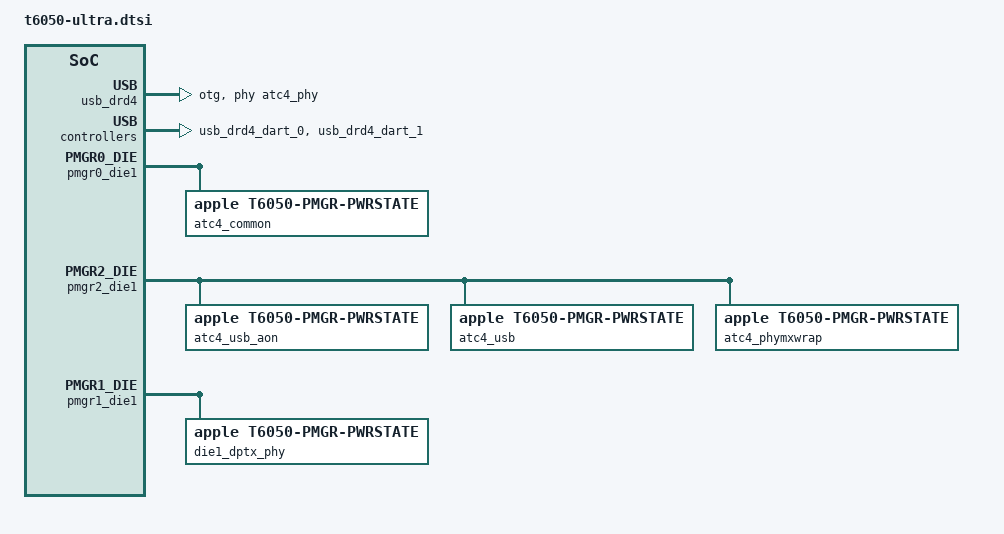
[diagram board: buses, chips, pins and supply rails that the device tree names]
// SPDX-License-Identifier: GPL-2.0+ OR MIT
/*
 * Apple T6050 "M5 Ultra" SoC: two dies
 *
 * Die 0 and die 1 each get the per-die template (t6050-dieX.dtsi); the
 * blocks used from die 0 only are in t6050-die0.dtsi. The video decoders,
 * the memory cache controllers and the display subsystem are so far
 * described for the two-die part only, as are die 1's ATC0 port and its
 * DisplayPort PHY.
 *
 * Copyright The Asahi Linux Contributors
 */

#include <dt-bindings/interrupt-controller/apple-aic.h>
#include <dt-bindings/interrupt-controller/irq.h>
#include <dt-bindings/gpio/gpio.h>
#include <dt-bindings/phy/phy.h>
#include <dt-bindings/spmi/spmi.h>

#include "multi-die-cpp.h"

#include "t6050-base.dtsi"

/ {
	/*
	 * Five cores in each cluster, die 0's first, so that nr_cpus= brings the CPUs up in that
	 * order.
	 */
	cpus {
		T6050_M_CPU(cpu0, 40000, cpufreq_mc0, l2_cache_mc0);
		T6050_M_CPU(cpu1, 40001, cpufreq_mc0, l2_cache_mc0);
		T6050_M_CPU(cpu2, 40002, cpufreq_mc0, l2_cache_mc0);
		T6050_M_CPU(cpu3, 40003, cpufreq_mc0, l2_cache_mc0);
		T6050_M_CPU(cpu4, 40004, cpufreq_mc0, l2_cache_mc0);
		T6050_M_CPU(cpu6, 40100, cpufreq_mc1, l2_cache_mc1);
		T6050_M_CPU(cpu7, 40101, cpufreq_mc1, l2_cache_mc1);
		T6050_M_CPU(cpu8, 40102, cpufreq_mc1, l2_cache_mc1);
		T6050_M_CPU(cpu9, 40103, cpufreq_mc1, l2_cache_mc1);
		T6050_M_CPU(cpu10, 40104, cpufreq_mc1, l2_cache_mc1);
		T6050_P_CPU(cpu12, 10200, cpufreq_pc, l2_cache_pc);
		T6050_P_CPU(cpu13, 10201, cpufreq_pc, l2_cache_pc);
		T6050_P_CPU(cpu14, 10202, cpufreq_pc, l2_cache_pc);
		T6050_P_CPU(cpu15, 10203, cpufreq_pc, l2_cache_pc);
		T6050_P_CPU(cpu16, 10204, cpufreq_pc, l2_cache_pc);
		T6050_M_CPU(cpu18, 41000, cpufreq_mc0_die1, l2_cache_mc0_die1);
		T6050_M_CPU(cpu19, 41001, cpufreq_mc0_die1, l2_cache_mc0_die1);
		T6050_M_CPU(cpu20, 41002, cpufreq_mc0_die1, l2_cache_mc0_die1);
		T6050_M_CPU(cpu21, 41003, cpufreq_mc0_die1, l2_cache_mc0_die1);
		T6050_M_CPU(cpu22, 41004, cpufreq_mc0_die1, l2_cache_mc0_die1);
		T6050_M_CPU(cpu24, 41100, cpufreq_mc1_die1, l2_cache_mc1_die1);
		T6050_M_CPU(cpu25, 41101, cpufreq_mc1_die1, l2_cache_mc1_die1);
		T6050_M_CPU(cpu26, 41102, cpufreq_mc1_die1, l2_cache_mc1_die1);
		T6050_M_CPU(cpu27, 41103, cpufreq_mc1_die1, l2_cache_mc1_die1);
		T6050_M_CPU(cpu28, 41104, cpufreq_mc1_die1, l2_cache_mc1_die1);
		T6050_P_CPU(cpu30, 11200, cpufreq_pc_die1, l2_cache_pc_die1);
		T6050_P_CPU(cpu31, 11201, cpufreq_pc_die1, l2_cache_pc_die1);
		T6050_P_CPU(cpu32, 11202, cpufreq_pc_die1, l2_cache_pc_die1);
		T6050_P_CPU(cpu33, 11203, cpufreq_pc_die1, l2_cache_pc_die1);
		T6050_P_CPU(cpu34, 11204, cpufreq_pc_die1, l2_cache_pc_die1);
	};

	/* One L2 per cluster (t6050-base.dtsi, "Caches"). */
	T6050_M_L2(l2_cache_mc0, l2-cache-mcluster0);
	T6050_M_L2(l2_cache_mc1, l2-cache-mcluster1);
	T6050_P_L2(l2_cache_pc, l2-cache-pcluster);
	T6050_M_L2(l2_cache_mc0_die1, l2-cache-mcluster0-die1);
	T6050_M_L2(l2_cache_mc1_die1, l2-cache-mcluster1-die1);
	T6050_P_L2(l2_cache_pc_die1, l2-cache-pcluster-die1);

	/* Die 1 MMIO. The boot loader needs each die's bus. */
	die1: soc@4200000000 {
		compatible = "simple-bus";
		#address-cells = <2>;
		#size-cells = <2>;
		ranges = <0x42 0x0 0x42 0x0 0x3 0xc0000000>;
		nonposted-mmio;
	};
};

#define DIE
#define DIE_NO 0
#define DIE_UNIT_PREFIX
#define DIE_ATC1 atc1
#define SOC_NODE die0

#include "t6050-dieX.dtsi"
#include "t6050-die0.dtsi"

#undef DIE
#undef DIE_NO
#undef DIE_UNIT_PREFIX
#undef DIE_ATC1
#undef SOC_NODE

#define DIE _die1
#define DIE_NO 1
#define DIE_UNIT_PREFIX 4
#define DIE_ATC1 atc5
#define SOC_NODE die1

#include "t6050-dieX.dtsi"

#undef DIE
#undef DIE_NO
#undef DIE_UNIT_PREFIX
#undef DIE_ATC1
#undef SOC_NODE

/*
 * Die 1's ATC0, as its ATC1 (ADT /arm-io/atc-phy4, acio-phy-cpu4, usb-drd4, dart-usb4). Die 0's
 * ATC0 is not described: it carries the DFU and debug link (usb-drd0), which stays the boot
 * loader's.
 */
&pmgr0_die1 {
	/* die 1 ATC0_COMMON (gate 55) */
	ps_atc4_common: power-controller@208 {
		compatible = "apple,t6050-pmgr-pwrstate", "apple,t8103-pmgr-pwrstate";
		reg = <0x208 4>;
		label = "atc4_common";
		#power-domain-cells = <0>;
		#reset-cells = <0>;
	};
};

&pmgr2_die1 {
	/* die 1 ATC0: gates 260, 261, 262 */
	ps_atc4_usb_aon: power-controller@148 {
		compatible = "apple,t6050-pmgr-pwrstate", "apple,t8103-pmgr-pwrstate";
		reg = <0x148 4>;
		label = "atc4_usb_aon";
		apple,always-on; /* The ATC PHY loses its state without it */
		#power-domain-cells = <0>;
		#reset-cells = <0>;
	};

	ps_atc4_usb: power-controller@150 {
		compatible = "apple,t6050-pmgr-pwrstate", "apple,t8103-pmgr-pwrstate";
		reg = <0x150 4>;
		label = "atc4_usb";
		#power-domain-cells = <0>;
		#reset-cells = <0>;
		power-domains = <&ps_atc4_common>, <&ps_atc4_usb_aon>;
	};

	ps_atc4_phymxwrap: power-controller@158 {
		compatible = "apple,t6050-pmgr-pwrstate", "apple,t8103-pmgr-pwrstate";
		reg = <0x158 4>;
		label = "atc4_phymxwrap";
		#power-domain-cells = <0>;
		#reset-cells = <0>;
		power-domains = <&ps_atc4_common>, <&ps_atc4_usb_aon>;
	};
};

/*
 * Die 1's DisplayPort PHY (ADT /arm-io/lpdptx-phy1, dptx-phy,t6050) and its power gate (DPTX_PHY
 * at 0x3f8 of die 1's G1 PMGR group, no parent domains).
 */
&pmgr1_die1 {
	ps_dptx_phy_die1: power-controller@3f8 {
		compatible = "apple,t6050-pmgr-pwrstate", "apple,t8103-pmgr-pwrstate";
		reg = <0x3f8 4>;
		label = "die1_dptx_phy";
		#power-domain-cells = <0>;
		#reset-cells = <0>;
	};
};

&die1 {
	/* /arm-io/acio-phy-cpu4 reg[0]: the PHY firmware's mailbox */
	atc4_phy_mbox: mailbox@42a3148000 {
		compatible = "apple,t6050-asc-mailbox", "apple,asc-mailbox-v4";
		reg = <0x42 0xa3148000 0x0 0x4000>;
		interrupts = <AIC_IRQ 1 841 IRQ_TYPE_LEVEL_HIGH>,
			     <AIC_IRQ 1 842 IRQ_TYPE_LEVEL_HIGH>,
			     <AIC_IRQ 1 843 IRQ_TYPE_LEVEL_HIGH>,
			     <AIC_IRQ 1 844 IRQ_TYPE_LEVEL_HIGH>;
		interrupt-names = "send-empty", "send-not-empty", "recv-empty", "recv-not-empty";
		#mbox-cells = <0>;
	};

	/* /arm-io/atc-phy4 regs [2] [0] usb-drd4[4] [39] [40] [41] [42] [43] [38] [37] usb-drd4[3] */
	atc4_phy: phy@42a3000000 {
		compatible = "apple,t6050-combo-phy";
		reg = <0x42 0xa3000000 0x0 0x2c000>,
		      <0x42 0xa2a90000 0x0 0x4000>,
		      <0x42 0xa2800000 0x0 0x4000>,
		      <0x42 0xa3200000 0x0 0x4000>,
		      <0x42 0xa3244000 0x0 0x4000>,
		      <0x42 0xa0000000 0x0 0x8000>,
		      <0x42 0xa0020000 0x0 0x4000>,
		      <0x42 0xa3250000 0x0 0x4000>,
		      <0x42 0xa3140000 0x0 0x4000>,
		      <0x42 0xa30c0000 0x0 0x10000>,
		      <0x42 0xa2a84000 0x0 0x4000>;
		reg-names = "core", "usb2phy", "usb2-digital", "reset", "fabric", "axi2af", "lioa",
			    "common-cfg", "usb-control", "firmware-data", "pipehandler";
		#phy-cells = <1>;
		#reset-cells = <1>;
		apple,port-index = <4>;
		apple,guest-port-reserved;
		mode-switch;
		orientation-switch;
		mboxes = <&atc4_phy_mbox>;
		power-domains = <&ps_atc4_usb_aon>, <&ps_atc4_common>, <&ps_atc4_phymxwrap>,
				<&ps_atc4_usb>;
		power-domain-names = "usb-aon", "common", "wrapper", "usb";
	};

	/* /arm-io/usb-drd4: reg[0] (core and Apple regions), reg[1] (drd-cfg), interrupt 4523; ATC1's tunables */
	usb_drd4: usb@42a2280000 {
		compatible = "apple,t6050-dwc3", "apple,t8103-dwc3";
		reg = <0x42 0xa2280000 0x0 0xcd00>,
		      <0x42 0xa228cd00 0x0 0x4b00>,
		      <0x42 0xa2200000 0x0 0x4000>;
		reg-names = "dwc3-core", "dwc3-apple", "drd-cfg";
		interrupts = <AIC_IRQ 1 1419 IRQ_TYPE_LEVEL_HIGH>;
		dr_mode = "otg";
		usb-role-switch;
		role-switch-default-mode = "host";
		iommus = <&usb_drd4_dart_0 0>, <&usb_drd4_dart_1 1>;
		power-domains = <&ps_atc4_usb>;
		resets = <&atc4_phy 0>;
		phys = <&atc4_phy PHY_TYPE_USB2>, <&atc4_phy PHY_TYPE_USB3>;
		phy-names = "usb2-phy", "usb3-phy";
		apple,tunable-gbl-default = <0x64 0x2 0x0>, <0x10 0xfff80000 0x00680000>;
		apple,tunable-gbl-host = <0x4 0x0001ef00 0x00002f00>, <0x1c 0x00000100 0x0>,
			<0x2c 0x000a07ff 0x000800c8>, <0x100 0x02000100 0x02000100>,
			<0x504 0x00001000 0x0>, <0x528 0xff0000ff 0x06000006>,
			<0x52c 0xff0000ff 0x08000008>, <0x580 0xffffffff 0x6f000006>,
			<0x584 0xffffffff 0x00060000>;
		apple,tunable-dbg = <0x0 0x8 0x8>;
		apple,tunable-cfg-host = <0x20 0xff 0x1b>;
		apple,tunable-link = <0x10 0xff000000 0xff000000>, <0x20 0x7ff00000 0x4e900000>,
			<0x24 0x001f8000 0x000b8000>, <0x60 0x0003ffff 0x00000600>;
		apple,tunable-cio = <0x20 0x00ff0000 0x001e0000>;
	};

	/* /arm-io/dart-usb4 reg[0] and reg[1], interrupt 4527; vm-base 0x10000004000 +0xffff0000 */
	usb_drd4_dart_0: iommu@42a2f00000 {
		compatible = "apple,t6050-dart", "apple,t8110-dart";
		reg = <0x42 0xa2f00000 0x0 0xc000>;
		interrupts = <AIC_IRQ 1 1423 IRQ_TYPE_LEVEL_HIGH>;
		power-domains = <&ps_atc4_usb>;
		#iommu-cells = <1>;
		apple,dma-range = <0x100 0x4000 0x0 0xffff0000>;
	};

	usb_drd4_dart_1: iommu@42a2f80000 {
		compatible = "apple,t6050-dart", "apple,t8110-dart";
		reg = <0x42 0xa2f80000 0x0 0xc000>;
		interrupts = <AIC_IRQ 1 1423 IRQ_TYPE_LEVEL_HIGH>;
		power-domains = <&ps_atc4_usb>;
		#iommu-cells = <1>;
		apple,dma-range = <0x100 0x4000 0x0 0xffff0000>;
	};

	/*
	 * The PLL core calibration is the ADT node's DCOCFG, DTCVREG, DTCCAL, DCDADJ and DLFCFG
	 * (RODCOROLEAKCOMP is absent there), with its pclkdrv-select. Disabled: Aura enables it with
	 * the display engine it hands off. The power gate stays enabled (with no consumer it stays
	 * off).
	 */
	lpdptx_phy1: phy@429c200000 {
		compatible = "apple,t6050-dptx-phy";
		reg = <0x42 0x9c200000 0x0 0x4000>,
		      <0x42 0x9c240000 0x0 0x10000>;
		reg-names = "core", "dptx";
		power-domains = <&ps_dptx_phy_die1>;
		#phy-cells = <0>;
		#reset-cells = <0>;
		apple,pll-dcocfg = <3>;
		apple,pll-dtcvreg = <15>;
		apple,pll-dtccal = <2>;
		apple,pll-dcdadj = <16>;
		apple,pll-dlfcfg = <3>;
		apple,pclkdrv-select = <1>;
		/* dcpext4's route: the die-1 crossbar's ufp endpoint 0 (source select 1) */
		apple,ufp-endpoint = <0>;
		/* Aura enables it with dcpext4. */
		status = "disabled";
	};
};

/ {
	/*
	 * Die 0's video decoder (ADT /arm-io/avd0, avd-version 4, the T8142 generation): reg[0]
	 * 0x2308000000 + 0x1404000 through arm-io's ranges, windows in the T8142/T6041 layout (CM3 code
	 * and SRAM 0x14000 each at +0x1080000, mailbox +0x10a8000, decode control +0x1100000); ADT
	 * interrupts 2417, 2418 (die 0 IRQs 2417, 2418). dart-avd0 at +0x1020000,
	 * interrupt 2424 (die 0 2424), SIDs 0-2 (mapper, piodma, adsbuf). Power: the clock
	 * gates AVD_SYS_V and AVD_SOC_DART have no PS register; both hang off AVD_SYS (PMGR block
	 * 0x2380600000 + 0x1d8, also the ARST reset), whose parent FAB1_SOC (+0x1b0) is critical.
	 */
	soc@2308000000 {
		compatible = "simple-bus";
		#address-cells = <2>;
		#size-cells = <2>;
		ranges = <0x23 0x08000000 0x23 0x08000000 0x0 0x1404000>,
			 <0x23 0x80600000 0x23 0x80600000 0x0 0xc000>;
		nonposted-mmio;

		pmgr4: power-management@2380600000 {
			compatible = "apple,t6050-pmgr", "apple,t8103-pmgr", "syscon", "simple-mfd";
			reg = <0x23 0x80600000 0x0 0xc000>;
			#address-cells = <1>;
			#size-cells = <1>;

			ps_fab1_soc: power-controller@1b0 {
				compatible = "apple,t6050-pmgr-pwrstate", "apple,t8103-pmgr-pwrstate";
				reg = <0x1b0 4>;
				label = "fab1_soc";
				#power-domain-cells = <0>;
				#reset-cells = <0>;
				apple,always-on;
			};

			ps_avd_sys: power-controller@1d8 {
				compatible = "apple,t6050-pmgr-pwrstate", "apple,t8103-pmgr-pwrstate";
				reg = <0x1d8 4>;
				label = "avd_sys";
				#power-domain-cells = <0>;
				#reset-cells = <0>;
				power-domains = <&ps_fab1_soc>;
			};
		};

		avd: avd@2309080000 {
			compatible = "apple,t6050-avd", "apple,t8142-avd";
			reg = <0x23 0x09080000 0x0 0x14000>,
			      <0x23 0x09094000 0x0 0x14000>,
			      <0x23 0x090a8000 0x0 0x4000>,
			      <0x23 0x09100000 0x0 0x10000>;
			reg-names = "code", "sram", "mbox", "ctrl";
			interrupts = <AIC_IRQ 0 2417 IRQ_TYPE_LEVEL_HIGH>,
				     <AIC_IRQ 0 2418 IRQ_TYPE_LEVEL_HIGH>;
			power-domains = <&ps_avd_sys>;
			resets = <&ps_avd_sys>;
			iommus = <&avd_dart 0>, <&avd_dart 1>, <&avd_dart 2>;
		};

		avd_dart: iommu@2309020000 {
			compatible = "apple,t6050-dart", "apple,t8110-dart";
			reg = <0x23 0x09020000 0x0 0x20000>;
			#iommu-cells = <1>;
			interrupts = <AIC_IRQ 0 2424 IRQ_TYPE_LEVEL_HIGH>;
			power-domains = <&ps_avd_sys>;
		};
	};

	/*
	 * Die 1's video decoder (ADT /arm-io/avd1, avd-version 4, the T8142 generation): reg[0]
	 * 0x6308000000 + 0x1404000 through arm-io's ranges, windows in the T8142/T6041 layout (CM3 code
	 * and SRAM 0x14000 each at +0x1080000, mailbox +0x10a8000, decode control +0x1100000); ADT
	 * interrupts 5521, 5522 (die 1 IRQs 2417, 2418). dart-avd1 at +0x1020000,
	 * interrupt 5528 (die 1 2424), SIDs 0-2 (mapper, piodma, adsbuf). Power: the clock
	 * gates AVD_SYS_V and AVD_SOC_DART have no PS register; both hang off AVD_SYS (PMGR block
	 * 0x6380600000 + 0x1d8, also the ARST reset), whose parent FAB1_SOC (+0x1b0) is critical.
	 */
	soc@6308000000 {
		compatible = "simple-bus";
		#address-cells = <2>;
		#size-cells = <2>;
		ranges = <0x63 0x08000000 0x63 0x08000000 0x0 0x1404000>,
			 <0x63 0x80600000 0x63 0x80600000 0x0 0xc000>;
		nonposted-mmio;

		pmgr4_die1: power-management@6380600000 {
			compatible = "apple,t6050-pmgr", "apple,t8103-pmgr", "syscon", "simple-mfd";
			reg = <0x63 0x80600000 0x0 0xc000>;
			#address-cells = <1>;
			#size-cells = <1>;

			ps_fab1_soc_die1: power-controller@1b0 {
				compatible = "apple,t6050-pmgr-pwrstate", "apple,t8103-pmgr-pwrstate";
				reg = <0x1b0 4>;
				label = "fab1_soc_die1";
				#power-domain-cells = <0>;
				#reset-cells = <0>;
				apple,always-on;
			};

			ps_avd_sys_die1: power-controller@1d8 {
				compatible = "apple,t6050-pmgr-pwrstate", "apple,t8103-pmgr-pwrstate";
				reg = <0x1d8 4>;
				label = "avd_sys_die1";
				#power-domain-cells = <0>;
				#reset-cells = <0>;
				power-domains = <&ps_fab1_soc_die1>;
			};
		};

		avd_die1: avd@6309080000 {
			compatible = "apple,t6050-avd", "apple,t8142-avd";
			reg = <0x63 0x09080000 0x0 0x14000>,
			      <0x63 0x09094000 0x0 0x14000>,
			      <0x63 0x090a8000 0x0 0x4000>,
			      <0x63 0x09100000 0x0 0x10000>;
			reg-names = "code", "sram", "mbox", "ctrl";
			interrupts = <AIC_IRQ 1 2417 IRQ_TYPE_LEVEL_HIGH>,
				     <AIC_IRQ 1 2418 IRQ_TYPE_LEVEL_HIGH>;
			power-domains = <&ps_avd_sys_die1>;
			resets = <&ps_avd_sys_die1>;
			iommus = <&avd_dart_die1 0>, <&avd_dart_die1 1>, <&avd_dart_die1 2>;
		};

		avd_dart_die1: iommu@6309020000 {
			compatible = "apple,t6050-dart", "apple,t8110-dart";
			reg = <0x63 0x09020000 0x0 0x20000>;
			#iommu-cells = <1>;
			interrupts = <AIC_IRQ 1 2424 IRQ_TYPE_LEVEL_HIGH>;
			power-domains = <&ps_avd_sys_die1>;
		};
	};

	/*
	 * The DRM master: scanout buffers map through dart-dispext0 SID 0. Aura enables it with
	 * dcpext0, and appends each other engine's display DART (SID 0) as it hands that engine
	 * off: dcpext4's for the HDMI port. A disabled DART listed here would leave it no IOMMU.
	 */
	display: display-subsystem {
		compatible = "apple,display-subsystem";
		iommus = <&dart_dispext0 0>;
		status = "disabled";
	};

	/*
	 * The memory cache controllers: eight AMCCs of four planes on each die (ADT /arm-io/mcc:
	 * amcc-count 8, dcs-count-per-amcc 4, die-enable-mask 3, AMCC a of die d at 0x2220000000 +
	 * d * 0x4000000000 + a * 0x2000000 through arm-io's ranges), one 16 KiB block per plane.
	 * The boot loader leaves every plane's ways enabled and powered with allocation disabled, so
	 * the system level cache holds no data until apple-mcc allows it.
	 */
	soc@2220000000 {
		compatible = "simple-bus";
		#address-cells = <2>;
		#size-cells = <2>;
		ranges = <0x22 0x20000000 0x22 0x20000000 0x0 0x10000000>,
			 <0x62 0x20000000 0x62 0x20000000 0x0 0x10000000>;
		nonposted-mmio;

		mcc: memory-controller@2220000000 {
			compatible = "apple,t6050-mcc";
			reg = <0x22 0x20000000 0x0 0x4000>,
			      <0x22 0x20040000 0x0 0x4000>,
			      <0x22 0x20080000 0x0 0x4000>,
			      <0x22 0x200c0000 0x0 0x4000>,
			      <0x22 0x22000000 0x0 0x4000>,
			      <0x22 0x22040000 0x0 0x4000>,
			      <0x22 0x22080000 0x0 0x4000>,
			      <0x22 0x220c0000 0x0 0x4000>,
			      <0x22 0x24000000 0x0 0x4000>,
			      <0x22 0x24040000 0x0 0x4000>,
			      <0x22 0x24080000 0x0 0x4000>,
			      <0x22 0x240c0000 0x0 0x4000>,
			      <0x22 0x26000000 0x0 0x4000>,
			      <0x22 0x26040000 0x0 0x4000>,
			      <0x22 0x26080000 0x0 0x4000>,
			      <0x22 0x260c0000 0x0 0x4000>,
			      <0x22 0x28000000 0x0 0x4000>,
			      <0x22 0x28040000 0x0 0x4000>,
			      <0x22 0x28080000 0x0 0x4000>,
			      <0x22 0x280c0000 0x0 0x4000>,
			      <0x22 0x2a000000 0x0 0x4000>,
			      <0x22 0x2a040000 0x0 0x4000>,
			      <0x22 0x2a080000 0x0 0x4000>,
			      <0x22 0x2a0c0000 0x0 0x4000>,
			      <0x22 0x2c000000 0x0 0x4000>,
			      <0x22 0x2c040000 0x0 0x4000>,
			      <0x22 0x2c080000 0x0 0x4000>,
			      <0x22 0x2c0c0000 0x0 0x4000>,
			      <0x22 0x2e000000 0x0 0x4000>,
			      <0x22 0x2e040000 0x0 0x4000>,
			      <0x22 0x2e080000 0x0 0x4000>,
			      <0x22 0x2e0c0000 0x0 0x4000>,
			      <0x62 0x20000000 0x0 0x4000>,
			      <0x62 0x20040000 0x0 0x4000>,
			      <0x62 0x20080000 0x0 0x4000>,
			      <0x62 0x200c0000 0x0 0x4000>,
			      <0x62 0x22000000 0x0 0x4000>,
			      <0x62 0x22040000 0x0 0x4000>,
			      <0x62 0x22080000 0x0 0x4000>,
			      <0x62 0x220c0000 0x0 0x4000>,
			      <0x62 0x24000000 0x0 0x4000>,
			      <0x62 0x24040000 0x0 0x4000>,
			      <0x62 0x24080000 0x0 0x4000>,
			      <0x62 0x240c0000 0x0 0x4000>,
			      <0x62 0x26000000 0x0 0x4000>,
			      <0x62 0x26040000 0x0 0x4000>,
			      <0x62 0x26080000 0x0 0x4000>,
			      <0x62 0x260c0000 0x0 0x4000>,
			      <0x62 0x28000000 0x0 0x4000>,
			      <0x62 0x28040000 0x0 0x4000>,
			      <0x62 0x28080000 0x0 0x4000>,
			      <0x62 0x280c0000 0x0 0x4000>,
			      <0x62 0x2a000000 0x0 0x4000>,
			      <0x62 0x2a040000 0x0 0x4000>,
			      <0x62 0x2a080000 0x0 0x4000>,
			      <0x62 0x2a0c0000 0x0 0x4000>,
			      <0x62 0x2c000000 0x0 0x4000>,
			      <0x62 0x2c040000 0x0 0x4000>,
			      <0x62 0x2c080000 0x0 0x4000>,
			      <0x62 0x2c0c0000 0x0 0x4000>,
			      <0x62 0x2e000000 0x0 0x4000>,
			      <0x62 0x2e040000 0x0 0x4000>,
			      <0x62 0x2e080000 0x0 0x4000>,
			      <0x62 0x2e0c0000 0x0 0x4000>;
			apple,boot-dma-devices = <&display>;
		};
	};
};
